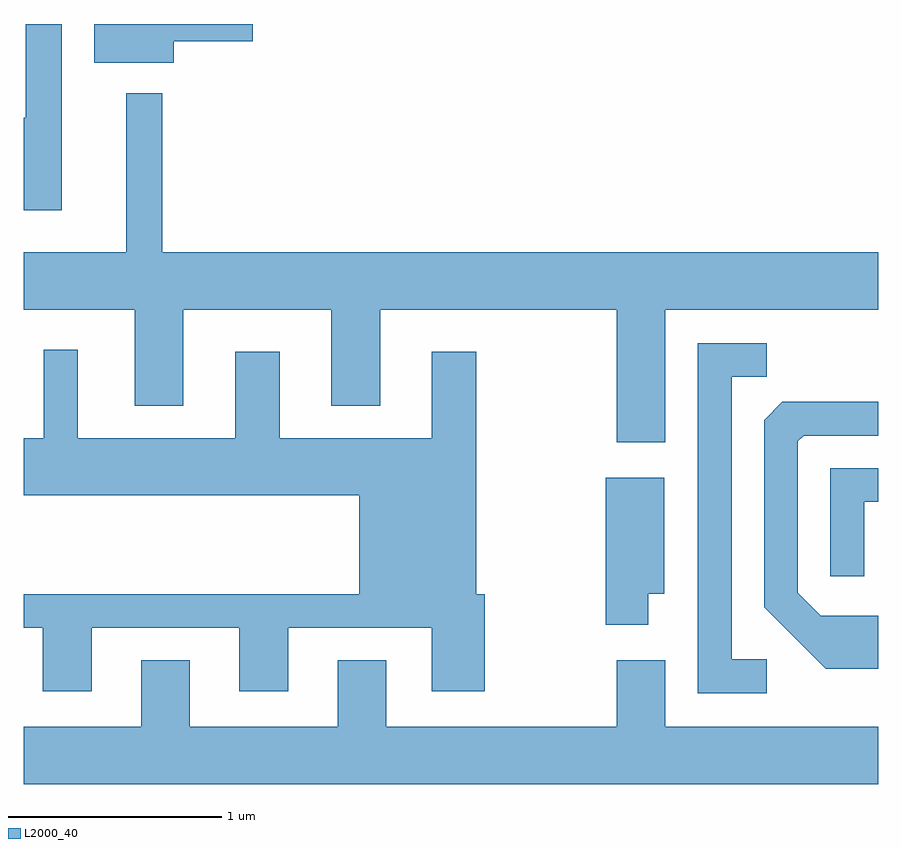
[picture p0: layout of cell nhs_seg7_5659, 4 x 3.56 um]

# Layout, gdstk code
import gdstk
lib = gdstk.Library(unit=1e-6, precision=1e-09)
def P(c, l, *ps):  # polygons
    for p in ps: c.add(gdstk.Polygon(p, *l))
L2000_40 = (2000, 40)

nhs_seg7_5659 = lib.new_cell('nhs_seg7_5659')
P(nhs_seg7_5659, L2000_40, [(357.789,1782.252),(357.621,1782.252),(357.621,1781.814),(357.611,1781.814),(357.611,1781.381),(357.789,1781.381)],
  [(358.314,1782.171),(358.684,1782.171),(358.684,1782.252),(357.941,1782.252),(357.941,1782.071),(358.314,1782.071)],
  [(360.614,1780.916),(361.611,1780.916),(361.611,1781.184),(358.259,1781.184),(358.259,1781.928),(358.091,1781.928),(358.091,1781.184),(357.611,1781.184),(357.611,1780.916),(358.131,1780.916),(358.131,1780.466),(358.359,1780.466),(358.359,1780.916),(359.051,1780.916),(359.051,1780.466),(359.279,1780.466),(359.279,1780.916),(360.386,1780.916),(360.386,1780.296),(360.614,1780.296)],
  [(361.088,1779.279),(360.924,1779.279),(360.924,1780.601),(361.088,1780.601),(361.088,1780.759),(360.766,1780.759),(360.766,1779.121),(361.088,1779.121)],
  [(357.929,1779.426),(358.621,1779.426),(358.621,1779.131),(358.849,1779.131),(358.849,1779.426),(359.521,1779.426),(359.521,1779.131),(359.769,1779.131),(359.769,1779.584),(359.729,1779.584),(359.729,1780.719),(359.521,1780.719),(359.521,1780.314),(358.809,1780.314),(358.809,1780.719),(358.601,1780.719),(358.601,1780.314),(357.864,1780.314),(357.864,1780.728),(357.706,1780.728),(357.706,1780.314),(357.611,1780.314),(357.611,1780.046),(359.181,1780.046),(359.181,1779.584),(357.611,1779.584),(357.611,1779.426),(357.701,1779.426),(357.701,1779.131),(357.929,1779.131)],
  [(361.611,1779.484),(361.342,1779.484),(361.234,1779.592),(361.234,1780.299),(361.262,1780.326),(361.611,1780.326),(361.611,1780.484),(361.162,1780.484),(361.076,1780.399),(361.076,1779.524),(361.364,1779.236),(361.611,1779.236)],
  [(361.544,1780.016),(361.611,1780.016),(361.611,1780.174),(361.386,1780.174),(361.386,1779.668),(361.544,1779.668)],
  [(360.534,1779.586),(360.609,1779.586),(360.609,1780.129),(360.336,1780.129),(360.336,1779.441),(360.534,1779.441)],
  [(361.611,1778.964),(360.614,1778.964),(360.614,1779.274),(360.386,1779.274),(360.386,1778.964),(359.309,1778.964),(359.309,1779.274),(359.081,1779.274),(359.081,1778.964),(358.389,1778.964),(358.389,1779.274),(358.161,1779.274),(358.161,1778.964),(357.611,1778.964),(357.611,1778.696),(361.611,1778.696)])

lib.write_gds('nhs_seg7_5659.gds')
